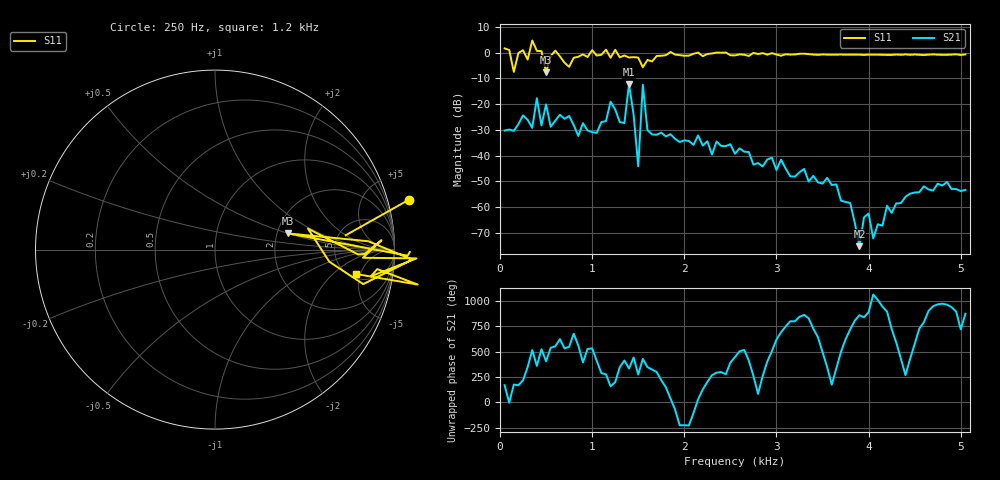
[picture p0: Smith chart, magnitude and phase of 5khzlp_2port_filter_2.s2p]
# HZ S RI R 50
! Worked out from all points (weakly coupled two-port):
!   101 points, 50 Hz to 5.05 kHz, reference 50 ohm
!   highest |S21| = -12.24 dB at 1.4 kHz (marker M1); lowest = -75.2 dB at 3.9 kHz (marker M2)
!   lowest |S11| = -7.6 dB at 500 Hz (marker M3), VSWR 2.42, Z = 115 + j25 ohm
!   |S11| at or under -10 dB: nowhere
!   S12 and S22 are empty: the file has one direction only
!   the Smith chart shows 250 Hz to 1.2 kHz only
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50  1.212 -0.0492  -0.0302 0.00571  0 0  0 0
100  1.129 0.0518  0.0321 -0.00194  0 0  0 0
150  0.0171 0.4227  -0.0302 0.00236  0 0  0 0
200  0.9886 0.0409  -0.0401 0.00818  0 0  0 0
300  0.7285 0.08  0.0482 -0.0116  0 0  0 0
350  1.718 -0.2009  -0.0314 0.0148  0 0  0 0
500  0.4061 0.0902  0.0719 0.0683  0 0  0 0
600  1.099 -0.0559  -0.0469 -0.00925  0 0  0 0
750  0.5177 0.1173  -0.0586 -0.00646  0 0  0 0
900  0.9277 0.0524  0.0359 0.0232  0 0  0 0
1350  0.8765 -0.1194  0.0263 0.0339  0 0  0 0
1400  0.7929 0.1314  0.2171 -0.1118  0 0  0 0
1500  0.8039 -0.0194  0.00032 -0.00619  0 0  0 0
1550  0.1801 -0.4897  0.0914 0.221  0 0  0 0
1600  0.6938 -0.2062  0.0306 -0.00672  0 0  0 0
1750  0.8705 -0.0548  -0.0221 -0.0172  0 0  0 0
2550  0.8805 -0.0902  0.000735 0.0109  0 0  0 0
3400  0.9176 -0.0548  0.00404 0.000253  0 0  0 0
3800  0.9159 -0.0395  0.0012 -5.82e-05  0 0  0 0
3900  0.9136 -0.0533  -0.000128 0.000119  0 0  0 0
4250  0.9038 -0.0416  0.00077 2.06e-05  0 0  0 0
5050  0.9257 -0.0386  -0.0019 0.00103  0 0  0 0
